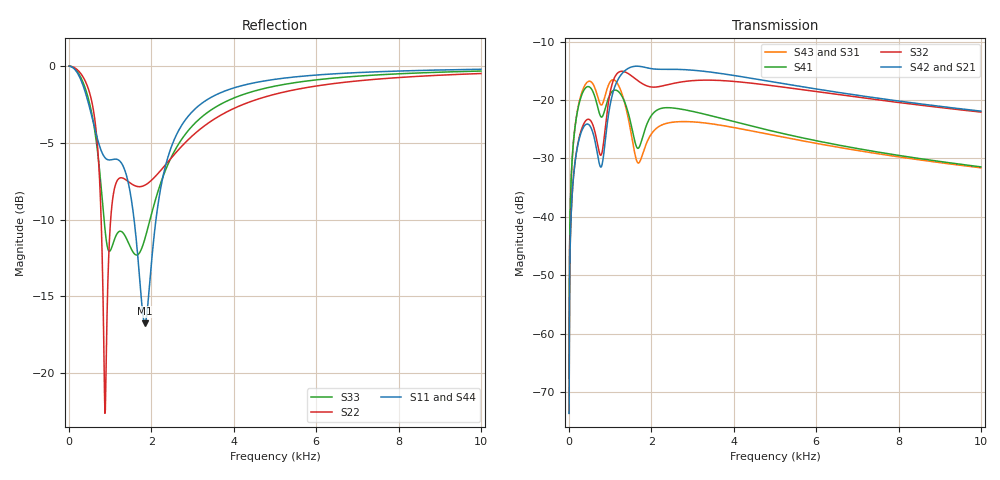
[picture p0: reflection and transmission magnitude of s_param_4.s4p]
! Created Sun May  9 21:37:32 2021
# hz S ri R 50
! 4 Port Network Data from SP1.SP block
! freq  reS11  imS11  reS12  imS12  reS13  imS13  reS14  imS14
!  reS21  imS21  reS22  imS22  reS23  imS23  reS24  imS24
!  reS31  imS31  reS32  imS32  reS33  imS33  reS34  imS34
!  reS41  imS41  reS42  imS42  reS43  imS43  reS44  imS44
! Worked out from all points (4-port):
!   1001 points, 1 Hz to 10 kHz, reference 50 ohm
!   strongest paths, dB at 1 Hz, 2.501 kHz, 5.001 kHz, 7.501 kHz, 10 kHz:
!     S42: -73.6, -14.8, -17.0, -19.7, -21.9
!     S21: -73.6, -14.8, -17.0, -19.7, -21.9
!     S32: -73.6, -17.2, -17.6, -20.0, -22.1
!     S41: -67.6, -21.4, -25.4, -28.9, -31.4
!     S43: -67.6, -23.8, -26.1, -29.2, -31.6
!     S31: -67.6, -23.8, -26.1, -29.2, -31.6
!   lowest |S11| = -16.7 dB at 1.841 kHz (marker M1), VSWR 1.34, Z = 54.8 + j14.6 ohm
!   |S11| at or under -10 dB: 1.579 kHz to 2.11 kHz (531.4 Hz wide, 28.8 % of centre)
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1  1 -0.00293  4.65e-07 0.000209  1.19e-06 0.000419  1.28e-06 0.000419
   4.65e-07 0.000209  1 -0.00209  4.21e-07 0.000209  4.65e-07 0.000209
   1.19e-06 0.000419  4.21e-07 0.000209  1 -0.00251  1.19e-06 0.000419
   1.28e-06 0.000419  4.65e-07 0.000209  1.19e-06 0.000419  1 -0.00293
101  0.9441 -0.2894  0.00463 0.0203  0.0119 0.0402  0.0126 0.0397
     0.00463 0.0203  0.971 -0.2092  0.00423 0.0205  0.00463 0.0203
     0.0119 0.0402  0.00423 0.0205  0.9577 -0.2494  0.0119 0.0402
     0.0126 0.0397  0.00463 0.0203  0.0119 0.0402  0.9441 -0.2894
371  0.3389 -0.7695  0.0445 0.0403  0.1162 0.0609  0.1124 0.0503
     0.0445 0.0403  0.6219 -0.6591  0.0447 0.0458  0.0445 0.0403
     0.1162 0.0609  0.0447 0.0458  0.4774 -0.7191  0.1162 0.0609
     0.1124 0.0503  0.0445 0.0403  0.1162 0.0609  0.3389 -0.7695
1071  -0.1492 0.474  0.0159 0.1167  0.1304 -0.072  0.1175 -0.0251
      0.0159 0.1167  0.2161 -0.3116  0.0608 0.1327  0.0159 0.1167
      0.1304 -0.072  0.0608 0.1327  0.1785 0.1958  0.1304 -0.072
      0.1175 -0.0251  0.0159 0.1167  0.1304 -0.072  -0.1492 0.474
1841  0.064 0.1305  0.1806 0.0599  0.038 -0.01  0.0557 -0.00182
      0.1806 0.0599  -0.3994 -0.0895  0.1336 0.0126  0.1806 0.0599
      0.038 -0.01  0.1336 0.0126  -0.2615 -0.0813  0.038 -0.01
      0.0557 -0.00182  0.1806 0.0599  0.038 -0.01  0.064 0.1305
3531  0.4459 0.6667  0.1612 -0.0584  0.046 -0.0416  0.0482 -0.0537
      0.1612 -0.0584  -0.0143 0.6728  0.1432 -0.0355  0.1612 -0.0584
      0.046 -0.0416  0.1432 -0.0355  0.1742 0.7108  0.046 -0.0416
      0.0482 -0.0537  0.1612 -0.0584  0.046 -0.0416  0.4459 0.6667
10000  0.9247 0.3156  0.0357 -0.0719  0.00704 -0.0254  0.00574 -0.0262
       0.0357 -0.0719  0.8041 0.499  0.0389 -0.0686  0.0357 -0.0719
       0.00704 -0.0254  0.0389 -0.0686  0.8706 0.4144  0.00704 -0.0254
       0.00574 -0.0262  0.0357 -0.0719  0.00704 -0.0254  0.9247 0.3156
